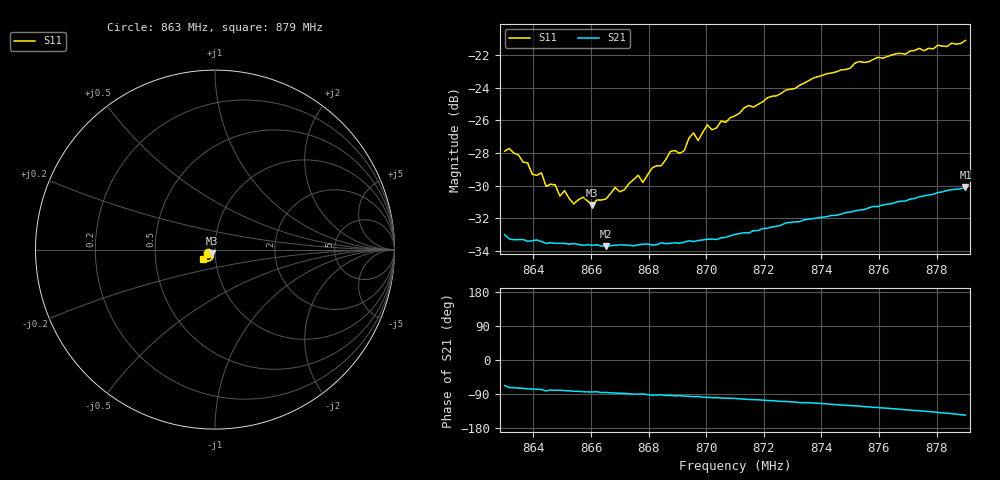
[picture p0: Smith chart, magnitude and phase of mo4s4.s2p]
# HZ S RI R 50
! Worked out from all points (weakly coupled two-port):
!   101 points, 863 MHz to 879 MHz, reference 50 ohm
!   highest |S21| = -30.09 dB at 879 MHz (marker M1); lowest = -33.7 dB at 866.52 MHz (marker M2)
!   lowest |S11| = -31.2 dB at 866.04 MHz (marker M3), VSWR 1.06, Z = 48.3 - j2.1 ohm
!   |S11| at or under -10 dB: start of sweep to end of sweep
!   S12 and S22 are empty: the file has one direction only
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8.63e8  -0.0365 -0.0172  0.00859 -0.0207  0 0  0 0
8.6348e8  -0.0358 -0.0162  0.00586 -0.0208  0 0  0 0
8.6396e8  -0.0306 -0.0154  0.00504 -0.0209  0 0  0 0
8.6428e8  -0.0297 -0.0179  0.00452 -0.0209  0 0  0 0
8.6444e8  -0.0276 -0.0152  0.00302 -0.0209  0 0  0 0
8.6476e8  -0.0265 -0.0176  0.00361 -0.0208  0 0  0 0
8.6492e8  -0.024 -0.017  0.00379 -0.0208  0 0  0 0
8.6508e8  -0.0234 -0.0197  0.00332 -0.0208  0 0  0 0
8.654e8  -0.0208 -0.0185  0.00275 -0.0209  0 0  0 0
8.6572e8  -0.0203 -0.021  0.00229 -0.0207  0 0  0 0
8.6604e8  -0.0171 -0.0217  0.00206 -0.0207  0 0  0 0
8.6652e8  -0.0161 -0.0239  0.00163 -0.0206  0 0  0 0
8.6844e8  -0.0104 -0.0349  -0.000761 -0.0212  0 0  0 0
8.6876e8  -0.0116 -0.0386  -0.0013 -0.0211  0 0  0 0
8.6924e8  -0.0109 -0.0391  -0.00197 -0.0212  0 0  0 0
8.6956e8  -0.0178 -0.0423  -0.00252 -0.0212  0 0  0 0
8.6972e8  -0.0109 -0.0421  -0.00231 -0.0214  0 0  0 0
8.7004e8  -0.0145 -0.0463  -0.00315 -0.0215  0 0  0 0
8.71e8  -0.0149 -0.0496  -0.00443 -0.022  0 0  0 0
8.7372e8  -0.0275 -0.0617  -0.0101 -0.023  0 0  0 0
8.7644e8  -0.049 -0.0624  -0.0173 -0.0219  0 0  0 0
8.79e8  -0.0692 -0.0543  -0.0257 -0.0178  0 0  0 0
